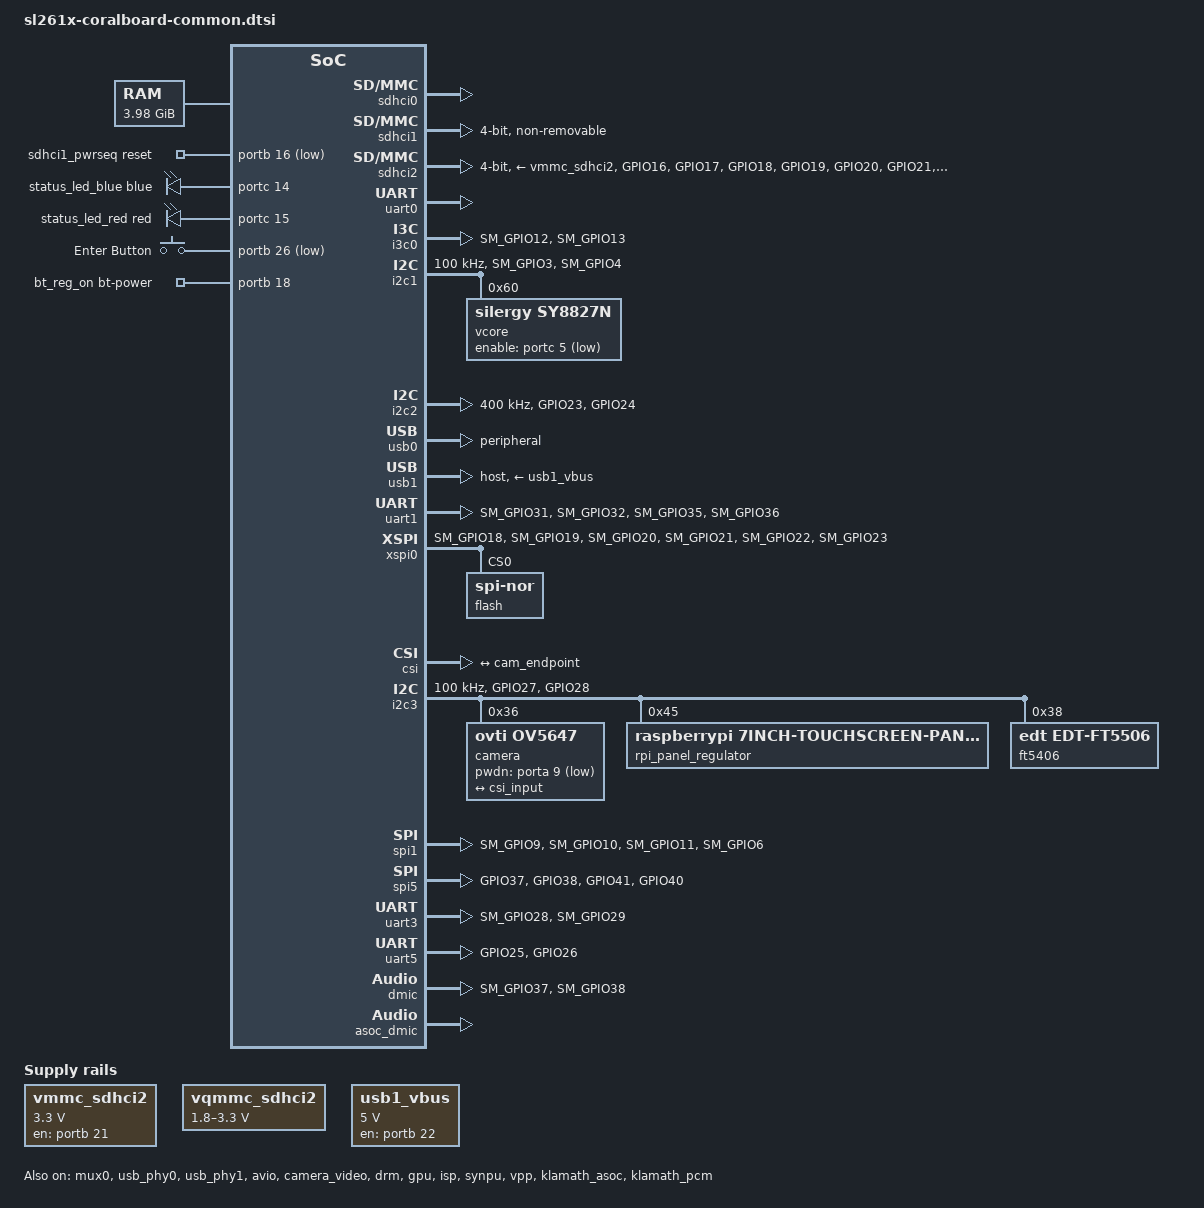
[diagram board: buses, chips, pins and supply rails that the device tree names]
// SPDX-License-Identifier: (GPL-2.0 OR MIT)
/*
 * Copyright (C) 2025 Synaptics Incorporated
 *
 * Author: Jisheng Zhang <jszhang@kernel.org>
 */

#include <dt-bindings/gpio/gpio.h>
#include <dt-bindings/input/linux-event-codes.h>
#include <dt-bindings/input/input.h>
#include <dt-bindings/leds/common.h>

/ {
	cpus {
		cpu@0 {
			cpu0-supply = <&vcore>;
		};
	};

	chosen {
		stdout-path = "serial0:115200n8";
	};

	memory {
		device_type = "memory";
		reg = <0x0 0x01000000 0x0 0xdf000000>,
		      <0x1 0xe0000000 0x0 0x20000000>;
	};

	reserved-memory {
		#address-cells = <2>;
		#size-cells = <2>;
		ranges;

		vdev0vring0: vdev0vring0@0 {
			compatible = "shared-dma-pool";
			reg = <0 0x0000000 0 0x8000>;
			no-map;
		};

		vdev0vring1: vdev0vring1@8000 {
			compatible = "shared-dma-pool";
			reg = <0 0x0008000 0 0x8000>;
			no-map;
		};

		vdevbuffer: vdevbuffer {
			compatible = "shared-dma-pool";
			reg = <0 0x0010000 0 0xf0000>;
			no-map;
		};

		linux,cma {
			compatible = "shared-dma-pool";
			reg = <0x00 0x5c000000 0x00 0x20000000>;
			linux,cma-default;
			reusable;
		};
	};

	rpmsg {
		compatible = "syna,rpmsg";
		mbox-names = "rpmsg";
		mboxes = <&ipc 0>;
		syna,vdev-nums = <1>;
		reg = <0x0 0x0000000 0x0 0x10000>;
		memory-region = <&vdevbuffer>;
	};

	dmabuf_heap {
		compatible = "syna,berlin-heaps";
		pool-num = <0>;
		reg-names = "NonSecure-NC";
		reg = <0 0x7f800000 0 0x00800000>;
		attributes-num-per-pool = <2>;
		pool-attributes = <0x00000105 0x00000F3A>;
	};

	sdhci1_pwrseq: sdhci1-pwrseq {
		compatible = "mmc-pwrseq-simple";
		pinctrl-names = "default";
		pinctrl-0 = <&w_disable1_pmux>;
		reset-gpios = <&portb 16 GPIO_ACTIVE_LOW>;
		post-power-on-delay-ms = <50>;
	};

	regulators {
		compatible = "simple-bus";
		#address-cells = <1>;
		#size-cells = <0>;

		vmmc_sdhci2: vmmc-sdhci2 {
			compatible = "regulator-fixed";
			pinctrl-names = "default";
			pinctrl-0 = <&vmmc_sdhci2_pmux>;
			regulator-name = "vmmc_sdio";
			regulator-min-microvolt = <3300000>;
			regulator-max-microvolt = <3300000>;
			gpio = <&portb 21 GPIO_ACTIVE_HIGH>;
			enable-active-high;
			regulator-boot-on;
		};

		vqmmc_sdhci2: vqmmc-sdhci2 {
			compatible = "regulator-gpio";
			pinctrl-names = "default";
			pinctrl-0 = <&vqmmc_sdhci2_pmux>;
			regulator-name = "vqmmc_sdio";
			regulator-type = "voltage";
			regulator-min-microvolt = <1800000>;
			regulator-max-microvolt = <3300000>;
			gpios = <&portb 23 GPIO_ACTIVE_HIGH>;
			enable-active-high;
			states = <1800000 0x0
				  3300000 0x1>;
		};

		usb1_vbus: usb1-vbus {
			compatible = "regulator-fixed";
			pinctrl-names = "default";
			pinctrl-0 = <&usb_host_pwr_en_pmux>;
			regulator-name = "usb1_vbus";
			regulator-min-microvolt = <5000000>;
			regulator-max-microvolt = <5000000>;
			gpio = <&portb 22 GPIO_ACTIVE_HIGH>;
			enable-active-high;
		};
	};

	leds {
		compatible = "gpio-leds";
		status = "okay";

		status_led_blue: status-led-blue {
			pinctrl-names = "default";
			pinctrl-0 = <&led_1_pmux>;
			gpios = <&portc 14 GPIO_ACTIVE_HIGH>;
			color = <LED_COLOR_ID_BLUE>;
			function = LED_FUNCTION_DISK_ACTIVITY;
			linux,default-trigger = "mmc0";
			default-state = "off";
		};

		status_led_red: status-led-red {
			pinctrl-names = "default";
			pinctrl-0 = <&led_2_pmux>;
			gpios = <&portc 15 GPIO_ACTIVE_HIGH>;
			color = <LED_COLOR_ID_RED>;
			function = LED_FUNCTION_HEARTBEAT;
			linux,default-trigger = "heartbeat";
			default-state = "off";
		};
	};

	keys {
		compatible = "gpio-keys";
		status = "okay";

		user-button {
			pinctrl-names = "default";
			pinctrl-0 = <&user_button_pmux>;
			label = "Enter Button";
			linux,code = <KEY_ENTER>;
			gpios = <&portb 26 GPIO_ACTIVE_LOW>;
			debounce-interval = <50>;
		};
	};

	bt_reg_on: bt-reg-on {
		compatible = "syna,rfkill";
		status = "okay";
		pinctrl-names = "default";
		pinctrl-0 = <&w_disable2_pmux>;
		bt-power-gpio = <&portb 18 GPIO_ACTIVE_HIGH>;
	};
};

&pinctrl {
	sdhci2_pmux: sdhci2-pmux {
		groups = "GPIO16", "GPIO17", "GPIO18", "GPIO19", "GPIO20", "GPIO21";
		function = "sdio2";
		drive-strength = <10>;
	};

	sdhci2_cdn_pmux: sdhci2_cdn-pmux {
		groups = "GPIO22";
		function = "sdio2";
		drive-strength = <7>;
	};

	i2c2_pmux: i2c2-pmux {
		groups = "GPIO23", "GPIO24";
		function = "tw2";
		drive-strength = <7>;
	};

	i2c3_pmux: i2c3-pmux {
		groups = "GPIO27", "GPIO28";
		function = "tw3";
		drive-strength = <7>;
	};

	spi5_pmux: spi5-pmux {
		groups = "GPIO37", "GPIO38", "GPIO41";
		function = "spi5";
	};

	spi5_ss2_pmux: spi5-ss2-pmux {
		groups = "GPIO40";
		function = "gpio";
	};

	uart5_pmux: uart5-pmux {
		groups = "GPIO25", "GPIO26";
		function = "uart5";
		drive-strength = <7>;
	};

	usb_host_pwr_en_pmux: usb-host-pwr-en-pmux {
		groups = "GPIO54";
		function = "gpio";
	};

	user_button_pmux: user-button-pmux {
		groups = "GPIO58";
		function = "gpio";
	};

	vmmc_sdhci2_pmux: vmmc-sdhci2-pmux {
		groups = "GPIO53";
		function = "gpio";
	};

	vqmmc_sdhci2_pmux: vqmmc-sdhci2-pmux {
		groups = "GPIO55";
		function = "gpio";
	};

	w_disable1_pmux: w-disable1-pmux {
		groups = "GPIO48";
		function = "gpio";
	};

	w_disable2_pmux: w-disable2-pmux {
		groups = "GPIO50";
		function = "gpio";
	};
};

&sm_pinctrl {
	i3c0_pmux: i3c0-pmux {
		groups = "SM_GPIO12", "SM_GPIO13";
		function = "i3c";
		drive-strength = <7>;
	};

	i2c1_pmux: i2c1-pmux {
		groups = "SM_GPIO3", "SM_GPIO4";
		function = "tw1";
		drive-strength = <7>;
	};

	vcore_gpio_pmux: vcore-gpio-pmux {
		groups = "SM_GPIO5";
		function = "gpio";
	};

	csi_gpio1_pmux: csi-gpio1-pmux {
		groups = "SM_GPIO30";
		function = "gpio";
	};

	led_1_pmux: led-1-pmux {
		groups = "SM_GPIO14";
		function = "gpio";
	};

	led_2_pmux: led-2-pmux {
		groups = "SM_GPIO15";
		function = "gpio";
	};

	spi1_pmux: spi1-pmux {
		groups = "SM_GPIO9", "SM_GPIO10", "SM_GPIO11";
		function = "spi1";
	};

	spi1_ss3_pmux: spi1-ss3-pmux {
		groups = "SM_GPIO6";
		function = "gpio";
	};

	xspi0_pmux: xspi0-pmux {
		groups = "SM_GPIO18", "SM_GPIO19", "SM_GPIO20", "SM_GPIO21", "SM_GPIO22", "SM_GPIO23";
		function = "xspi";
		drive-strength = <7>;
	};

	uart1_pmux: uart1-pmux {
		groups = "SM_GPIO31", "SM_GPIO32", "SM_GPIO35", "SM_GPIO36";
		function = "uart1";
		drive-strength = <7>;
	};

	uart3_pmux: uart3-pmux {
		groups = "SM_GPIO28", "SM_GPIO29";
		function = "uart3";
		drive-strength = <7>;
	};

	pdm_pmux: pdm-pmux {
		groups = "SM_GPIO37", "SM_GPIO38";
		function = "pdm";
	};
};

&ipc {
	status = "okay";
};

&mux0 {
	status = "okay";
};

&pdma0 {
	status = "okay";
};

&pdma1 {
	status = "okay";
};

&sdhci0 {
	status = "okay";
	sdclkdl-dc = /bits/ 8 <20>;
	pad-sp = /bits/ 8 <10>;
	pad-sn = /bits/ 8 <10>;
	mmc-ddr-1_8v;
	mmc-hs200-1_8v;
	mmc-hs400-1_8v;
	mmc-hs400-enhanced-strobe;
};

&sdhci1 {
	status = "okay";
	bus-width = <4>;
	sdclkdl-dc = /bits/ 8 <50>;
	pad-sp = /bits/ 8 <12>;
	pad-sn = /bits/ 8 <12>;
	no-sd;
	no-mmc;
	non-removable;
	mmc-pwrseq = <&sdhci1_pwrseq>;
	mode1-tune;
	keep-power-in-suspend;
};

&sdhci2 {
	status = "okay";
	pinctrl-0 = <&sdhci2_pmux>, <&sdhci2_cdn_pmux>;
	pinctrl-names = "default";
	bus-width = <4>;
	no-sdio;
	no-mmc;
	disable-wp;
	vmmc-supply = <&vmmc_sdhci2>;
	vqmmc-supply = <&vqmmc_sdhci2>;
	mux-states = <&mux0 0 3>;
};

&uart0 {
	status = "okay";
};

&i3c0 {
	status = "okay";
	pinctrl-names = "default";
	pinctrl-0 = <&i3c0_pmux>;
};

&i2c1 {
	status = "okay";
	pinctrl-names = "default";
	pinctrl-0 = <&i2c1_pmux>;
	clock-frequency = <100000>;

	vcore: regulator@60 {
		compatible = "silergy,sy8827n";
		regulator-name = "vcore";
		regulator-min-microvolt = <700000>;
		regulator-max-microvolt = <987500>;
		regulator-always-on;
		regulator-boot-on;
		regulator-active-discharge = <0>;
		pinctrl-names = "default";
		pinctrl-0 = <&vcore_gpio_pmux>;
		enable-gpios = <&portc 5 GPIO_ACTIVE_LOW>;
		silergy,vsel-step = <1>;
		reg = <0x60>;
	};
};

&i2c2 {
	status = "okay";
	pinctrl-names = "default";
	pinctrl-0 = <&i2c2_pmux>;
	clock-frequency = <400000>;
	i2c-sda-hold-time-ns = <300>;
	i2c-sda-falling-time-ns = <250>;
	i2c-scl-falling-time-ns = <250>;
};

&usb0 {
	status = "okay";
	dr_mode = "peripheral";
};

&usb_phy0 {
	status = "okay";
};

&usb1 {
	status = "okay";
	dr_mode = "host";
};

&usb_phy1{
	status = "okay";
};

&uart1 {
	status = "okay";
	pinctrl-names = "default";
	pinctrl-0 = <&uart1_pmux>;
	/delete-property/ dmas;
	/delete-property/ dma-names;
};

&xspi0 {
	status = "okay";
	pinctrl-0 = <&xspi0_pmux>;
	pinctrl-names = "default";

	flash@0 {
		compatible = "jedec,spi-nor";
		reg = <0>;
		spi-tx-bus-width = <4>;
		spi-rx-bus-width = <4>;
		status = "okay";
	};
};

&axi_meter {
	status = "okay";
};

&porta {
	gpio-line-names =
		"", "", "", "SDIO_RSTn", "", "", "", "",
		"", "CSI_GPIO0", "", "", "", "", "", "",
		"", "", "", "", "", "", "", "",
		"", "", "", "", "", "", "", "";
};

&portb {
	gpio-line-names =
		"", "", "", "", "", "", "", "",
		"SPI5_SS2", "", "GPIO42", "", "GPIO44", "GPIO45", "POWER_SOURCE", "GPIO47",
		"W_DISABLE1n", "M2_SDIO_HOST_WAKEn", "W_DISABLE2n", "USB_HOST_OCSn", "", "USD_PWR_EN", "USB_HOST_POWER_EN", "USD_VSEL",
		"GPIO56", "WAKEUPn", "USER_BUTTONn", "", "", "", "", "";
};

&portc {
	gpio-line-names =
		"", "", "", "", "", "VCORE_ONn", "SM_SPI1_SS3", "",
		"", "", "", "", "", "", "LED_1", "LED_2";
};

&porte {
	gpio-line-names =
		"", "", "", "SM_GPIO27", "", "", "CSI_GPIO1", "";
};

&portf {
	gpio-line-names =
		"", "", "SM_GPIO34", "", "", "", "", "";
};

&avio {
	status = "okay";
};

&camera_video {
	status = "okay";
};

&csi {
	status = "okay";

	ports {
		port@0 {
			csi_input: endpoint@0 {
				remote-endpoint = <&cam_endpoint>;
			};
		};
	};
};

&drm {
	status = "okay";

	dsi_panel {
		status = "okay";
		power-supply = <&rpi_panel_regulator>;
		backlight = <&rpi_panel_regulator>;
		compatible_panel="";
		ACTIVE_WIDTH = <800>;
		HFP = <70>;
		HSYNCWIDTH = <20>;
		HBP = <26>;
		ACTIVE_HEIGHT = <480>;
		VFP = <7>;
		VSYNCWIDTH = <2>;
		VBP = <21>;
		FREQ = <28030>;
		HTOTAL = <916>;
		Lanes = /bits/ 8 <1>;
		H_polarity = /bits/ 8 <1>;
		V_Polarity = /bits/ 8 <1>;
		Data_Polarity = /bits/ 8 <1>;
		Color_coding = /bits/ 8 <5>;
		Byte_clk = <84090>;
		command = /bits/ 8 <0x29  0x06 0x10  0x02  0x03  0x00  0x00 0x00
			0x29  0x06 0x64  0x01  0x0C  0x00  0x00 0x00
			0x29  0x06 0x68  0x01  0x0C  0x00  0x00 0x00
			0x29  0x06 0x44  0x01  0x00  0x00  0x00 0x00
			0x29  0x06 0x48  0x01  0x00  0x00  0x00 0x00
			0x29  0x06 0x14  0x01  0x15  0x00  0x00 0x00
			0x29  0x06 0x50  0x04  0x60  0x00  0x00 0x00
			0x29  0x06 0x20  0x04  0x52  0x01  0x10 0x00
			0x29  0x06 0x28  0x04  0x20  0x03  0x69 0x00
			0x29  0x06 0x2C  0x04  0x02  0x00  0x15 0x00
			0x29  0x06 0x30  0x04  0xe0  0x01  0x07 0x00
			0x29  0x06 0x34  0x04  0x0f  0x04  0x00 0x00
			0x29  0x06 0x64  0x04  0x0f  0x04  0x00 0x00
			0x29  0x06 0x04  0x01  0x01  0x00  0x00 0x00
			0x29  0x06 0x04  0x02  0x01  0x00  0x00 0x00
			0xFF  0xC0 0xD4  0x01  0x00
			0xFF  0x10 0x27  0x00  0x00>;
	};
};

&gpu {
	mali-supply = <&vcore>;
	status = "okay";
};

&i2c3 {
	status = "okay";
	pinctrl-names = "default";
	pinctrl-0 = <&i2c3_pmux>;
	clock-frequency = <100000>;
	i2c-sda-hold-time-ns = <300>;
	i2c-sda-falling-time-ns = <250>;
	i2c-scl-falling-time-ns = <250>;

	camera: ov5647@36 {
		compatible = "ovti,ov5647";
		status = "okay";
		pinctrl-names = "default";
		pinctrl-0 = <&csi_gpio1_pmux>;
		reg = <0x36>;
		pwdn-gpios = <&porta 9 GPIO_ACTIVE_LOW>;
		clocks = <&osc>;
		rotation = <0>;
		orientation = <2>;

		port {
			cam_endpoint: endpoint {
				clock-lanes = <0>;
				data-lanes = <1 2>;
				clock-noncontinuous;
				remote-endpoint = <&csi_input>;
			};
		};
	};

	rpi_panel_regulator: rpi_panel_regulator@45 {
		compatible = "raspberrypi,7inch-touchscreen-panel-regulator";
		reg = <0x45>;
		gpio-controller;
		#gpio-cells = <2>;
	};

	ft5406: ts@38 {
		compatible = "edt,edt-ft5506";
		reg = <0x38>;

		touchscreen-size-x = < 800 >;
		touchscreen-size-y = < 480 >;

		touchscreen-inverted-x;
		touchscreen-inverted-y;
	};
};

&isp {
	status = "okay";
};

&spi1 {
	status = "okay";
	pinctrl-names = "default";
	pinctrl-0 = <&spi1_pmux>, <&spi1_ss3_pmux>;
	cs-gpios = <&portc 6 GPIO_ACTIVE_LOW>;
};

&spi5 {
	status = "okay";
	pinctrl-names = "default";
	pinctrl-0 = <&spi5_pmux>, <&spi5_ss2_pmux>;
	cs-gpios = <&portb 8 GPIO_ACTIVE_LOW>;
};

&smmu {
	status = "okay";
};

&synpu {
	npu-supply = <&vcore>;
	status = "okay";
};

&uart3 {
	status = "okay";
	pinctrl-names = "default";
	pinctrl-0 = <&uart3_pmux>;
};

&uart5 {
	status = "okay";
	pinctrl-names = "default";
	pinctrl-0 = <&uart5_pmux>;
};

&usb1 {
	status = "okay";
	vbus-supply = <&usb1_vbus>;
	dr_mode = "host";
};

&usb_phy1 {
	status = "okay";
};

&vpp {
	status = "okay";
	enable_ampless_boot = <1>;
};

&dmic {
	status = "okay";
	pinctrl-0 = <&pdm_pmux>;
	pinctrl-names = "default";
	pdm-type = <1>;
	pdm-clk-sel = <1>;
	dmic-mux-reg = <0xe5025800 24>;
};

&klamath_asoc {
	status = "okay";

	asoc_dmic: asoc-dmic {
		status = "okay";
		stream-name = "dummy-dmic";
		link-name = "dummy-dmic";
		cpu-node = <&dmic>;
		codec-name = "snd-soc-dummy";
		codec-dai-name = "snd-soc-dummy-dai";
		platform-node = <&klamath_pcm>;
	};
};

&klamath_pcm {
	status = "okay";
};
